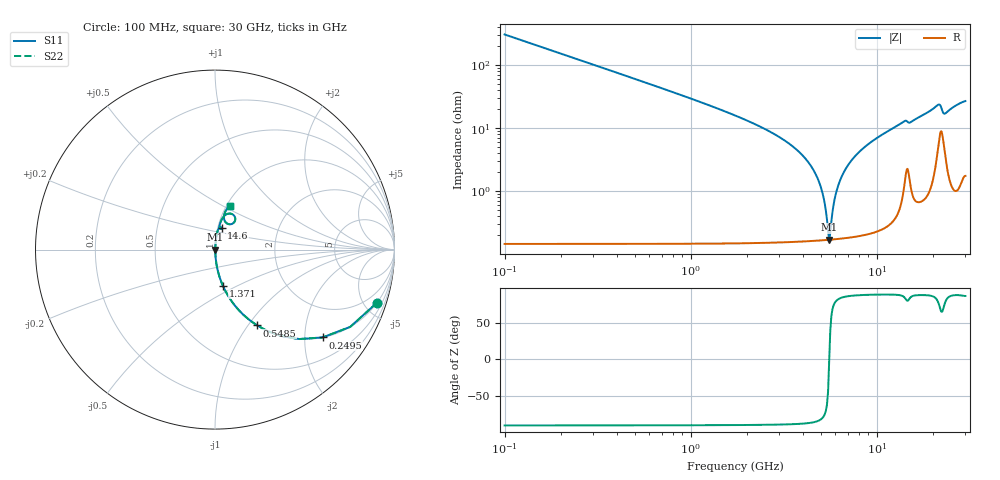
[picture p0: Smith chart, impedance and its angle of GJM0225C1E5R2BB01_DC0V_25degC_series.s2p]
!Murata Part Number: GJM0225C1E5R2BB01
!These Parameters are Measured in Series Mode Connection
!  o--ll--o
!Port1  Port2
!  o------o
!Operation Temp=25[degC], DC Bias Voltage=0[V]
!Freq. Start=100[MHz] Stop=30[GHz], 401[Steps]
!Data Generated on Feb 1, 2023
# Hz S RI R 50
!Freq.(Hz) S11(Real) S11(Imag) S21(Real) S21(Imag) S12(Real) S12(Imag) S22(Real) S22(Imag)
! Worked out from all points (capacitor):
!   401 points, 100 MHz to 30 GHz, reference 50 ohm
!   read as one part in series: C = 5.2 pF near 249.5 MHz
!   lowest |Z| = 172 mohm at 5.557 GHz (marker M1)
!   series resonance near 5.564 GHz, so ESL is about 160 pH
!   S11 on the Smith chart (normalised r, x): 100 MHz: 1.00, -6.12; 249.5 MHz: 1.00, -2.45; 548.5 MHz: 1.00, -1.11; 1.371 GHz: 1.00, -0.42; 14.6 GHz: 1.05, +0.25; 30 GHz: 1.04, +0.54
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1e8  0.9034 -0.2952  0.0966 0.2952  0.0966 0.2952  0.9034 -0.2952
2.495e8  0.5997 -0.4894  0.4003 0.4894  0.4003 0.4894  0.5997 -0.4894
5.485e8  0.2345 -0.4224  0.7655 0.4224  0.7655 0.4224  0.2345 -0.4224
8.475e8  0.1117 -0.3129  0.8883 0.3129  0.8883 0.3129  0.1117 -0.3129
1.37075e9  0.0435 -0.2004  0.9565 0.2004  0.9565 0.2004  0.0435 -0.2004
4.1365e9  0.0027 -0.033  0.9973 0.033  0.9973 0.033  0.0027 -0.033
4.7345e9  0.00197 -0.0178  0.998 0.0178  0.998 0.0178  0.00197 -0.0178
5.10825e9  0.00176 -0.00941  0.9982 0.00941  0.9982 0.00941  0.00176 -0.00941
5.55675e9  0.00171 -0.000139  0.9983 0.000139  0.9983 0.000139  0.00171 -0.000139
5.70625e9  0.00173 0.00278  0.9983 -0.00278  0.9983 -0.00278  0.00173 0.00278
5.9305e9  0.00179 0.00704  0.9982 -0.00704  0.9982 -0.00704  0.00179 0.00704
6.15475e9  0.00188 0.0111  0.9981 -0.0111  0.9981 -0.0111  0.00188 0.0111
6.8275e9  0.00233 0.0227  0.9977 -0.0227  0.9977 -0.0227  0.00233 0.0227
8.09825e9  0.00377 0.0425  0.9962 -0.0425  0.9962 -0.0425  0.00377 0.0425
1.01165e10  0.00733 0.0705  0.9927 -0.0705  0.9927 -0.0705  0.00733 0.0705
1.46015e10  0.0369 0.1187  0.9631 -0.1187  0.9631 -0.1187  0.0369 0.1187
1.505e10  0.0287 0.1166  0.9713 -0.1166  0.9713 -0.1166  0.0287 0.1166
2.005825e10  0.0522 0.1883  0.9478 -0.1883  0.9478 -0.1883  0.0522 0.1883
2.170275e10  0.1042 0.1916  0.8958 -0.1916  0.8958 -0.1916  0.1042 0.1916
2.304825e10  0.0698 0.1441  0.9302 -0.1441  0.9302 -0.1441  0.0698 0.1441
2.50665e10  0.0508 0.19  0.9492 -0.19  0.9492 -0.19  0.0508 0.19
3e10  0.0814 0.2427  0.9186 -0.2427  0.9186 -0.2427  0.0814 0.2427
